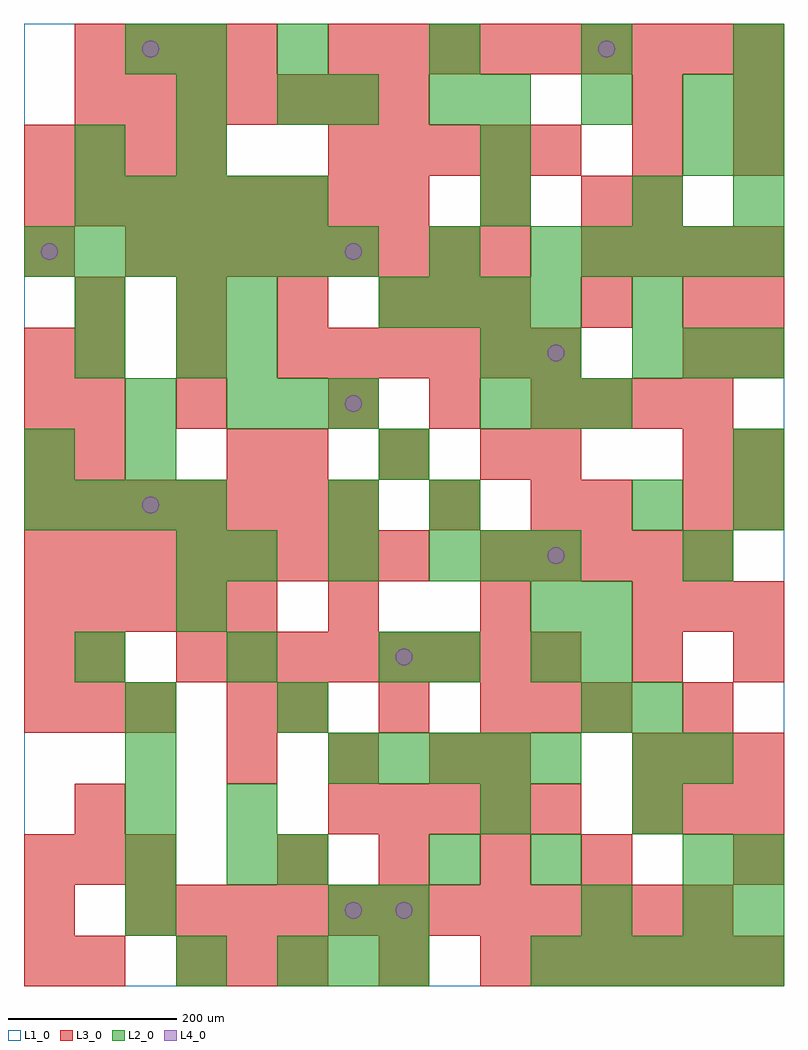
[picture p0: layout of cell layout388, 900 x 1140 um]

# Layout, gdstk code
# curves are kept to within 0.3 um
import gdstk
lib = gdstk.Library(unit=1e-6, precision=1e-09)
def R(c, l, rs):  # rectangles x0, y0, x1, y1
    for r in rs: c.add(gdstk.rectangle(r[:2], r[2:], *l))
def A(c, l, x, y, w, h, nx, ny, dx, dy):  # array of equal rectangles
    R(c, l, [(x+i*dx, y+j*dy, x+i*dx+w, y+j*dy+h) for i in range(nx) for j in range(ny)])
def P(c, l, *ps):  # polygons
    for p in ps: c.add(gdstk.Polygon(p, *l))
L1_0 = (1, 0)
L2_0 = (2, 0)
L3_0 = (3, 0)
L4_0 = (4, 0)

layout388 = lib.new_cell('layout388')
R(layout388, L1_0, [(0,0,900,1140)])
A(layout388, L2_0, 300, 0, 60, 60, 3, 1, 60, 0)
A(layout388, L2_0, 600, 0, 60, 60, 5, 2, 60, 840)
A(layout388, L2_0, 120, 60, 60, 60, 1, 5, 0, 60)
A(layout388, L2_0, 360, 60, 60, 60, 1, 3, 0, 480)
A(layout388, L2_0, 720, 180, 60, 60, 1, 3, 0, 60)
A(layout388, L2_0, 360, 240, 60, 60, 5, 1, 60, 0)
A(layout388, L2_0, 660, 300, 60, 60, 1, 3, 0, 60)
A(layout388, L2_0, 60, 360, 60, 60, 3, 1, 180, 0)
A(layout388, L2_0, 600, 360, 60, 60, 1, 3, 0, 60)
A(layout388, L2_0, 240, 480, 60, 60, 3, 1, 120, 0)
A(layout388, L2_0, 0, 540, 60, 60, 4, 1, 60, 0)
A(layout388, L2_0, 240, 660, 60, 60, 3, 1, 60, 0)
A(layout388, L2_0, 540, 660, 60, 60, 3, 1, 60, 0)
A(layout388, L2_0, 720, 720, 60, 60, 3, 1, 60, 0)
A(layout388, L2_0, 420, 780, 60, 60, 4, 1, 60, 0)
A(layout388, L2_0, 0, 840, 60, 60, 7, 1, 60, 0)
A(layout388, L2_0, 60, 900, 60, 60, 5, 1, 60, 0)
A(layout388, L2_0, 840, 900, 60, 60, 1, 3, 0, 60)
A(layout388, L2_0, 180, 960, 60, 60, 1, 3, 0, 60)
A(layout388, L2_0, 540, 1020, 60, 60, 3, 1, 120, 0)
A(layout388, L2_0, 300, 1080, 60, 60, 4, 1, 180, 0)
R(layout388, L2_0, [(180,0,240,60), (420,60,480,120), (660,60,720,120), (780,60,840,120), (840,60,900,120), (240,120,300,180), (300,120,360,180), (480,120,540,180), (600,120,660,180), (780,120,840,180), (840,120,900,180), (240,180,300,240), (540,180,600,240), (780,240,840,300), (300,300,360,360), (480,360,540,420), (180,420,240,480), (180,480,240,540), (540,480,600,540), (780,480,840,540), (480,540,540,600), (720,540,780,600), (840,540,900,600), (0,600,60,660), (120,600,180,660), (420,600,480,660), (840,600,900,660), (120,660,180,720), (60,720,120,780), (180,720,240,780), (240,720,300,780), (540,720,600,780), (600,720,660,780), (60,780,120,840), (180,780,240,840), (240,780,300,840), (720,780,780,840), (480,840,540,900), (540,900,600,960), (720,900,780,960), (60,960,120,1020), (540,960,600,1020), (780,960,840,1020), (300,1020,360,1080), (480,1020,540,1080), (120,1080,180,1140)])
A(layout388, L3_0, 60, 0, 60, 60, 1, 3, 0, 180)
A(layout388, L3_0, 180, 0, 60, 60, 3, 1, 60, 0)
A(layout388, L3_0, 540, 0, 60, 60, 6, 1, 60, 0)
A(layout388, L3_0, 120, 60, 60, 60, 12, 1, 60, 0)
A(layout388, L3_0, 0, 120, 60, 60, 3, 2, 60, 180)
A(layout388, L3_0, 300, 120, 60, 60, 4, 1, 120, 0)
A(layout388, L3_0, 360, 180, 60, 60, 5, 2, 60, 540)
A(layout388, L3_0, 720, 180, 60, 60, 3, 2, 60, 60)
A(layout388, L3_0, 240, 240, 60, 60, 3, 1, 120, 0)
A(layout388, L3_0, 300, 300, 60, 60, 3, 2, 120, 300)
A(layout388, L3_0, 780, 300, 60, 60, 1, 3, 0, 120)
A(layout388, L3_0, 180, 360, 60, 60, 8, 1, 60, 0)
A(layout388, L3_0, 0, 420, 60, 60, 5, 1, 60, 0)
A(layout388, L3_0, 360, 420, 60, 60, 3, 1, 180, 0)
A(layout388, L3_0, 0, 480, 60, 60, 8, 2, 60, 420)
A(layout388, L3_0, 540, 480, 60, 60, 5, 1, 60, 0)
A(layout388, L3_0, 0, 540, 60, 60, 7, 1, 60, 0)
A(layout388, L3_0, 0, 600, 60, 60, 1, 3, 0, 60)
A(layout388, L3_0, 360, 660, 60, 60, 3, 1, 120, 0)
A(layout388, L3_0, 660, 660, 60, 60, 3, 1, 60, 0)
A(layout388, L3_0, 60, 720, 60, 60, 3, 1, 120, 0)
A(layout388, L3_0, 60, 780, 60, 60, 4, 1, 120, 0)
A(layout388, L3_0, 540, 780, 60, 60, 3, 1, 120, 0)
A(layout388, L3_0, 120, 840, 60, 60, 8, 1, 60, 0)
A(layout388, L3_0, 660, 840, 60, 60, 4, 1, 60, 0)
A(layout388, L3_0, 720, 900, 60, 60, 1, 3, 0, 60)
A(layout388, L3_0, 0, 960, 60, 60, 4, 1, 60, 0)
A(layout388, L3_0, 360, 960, 60, 60, 5, 1, 60, 0)
A(layout388, L3_0, 60, 1020, 60, 60, 7, 1, 60, 0)
A(layout388, L3_0, 60, 1080, 60, 60, 4, 1, 60, 0)
A(layout388, L3_0, 360, 1080, 60, 60, 9, 1, 60, 0)
R(layout388, L3_0, [(0,0,60,60), (420,0,480,60), (0,60,60,120), (840,120,900,180), (540,240,600,300), (240,300,300,360), (600,300,660,360), (660,300,720,360), (0,360,60,420), (720,360,780,420), (840,360,900,420), (840,420,900,480), (480,540,540,600), (600,540,660,600), (660,540,720,600), (840,540,900,600), (60,600,120,660), (240,600,300,660), (600,600,660,660), (780,600,840,660), (840,600,900,660), (60,660,120,720), (180,660,240,720), (780,720,840,780), (840,720,900,780), (480,780,540,840), (840,780,900,840), (0,840,60,900), (540,900,600,960), (660,900,720,960), (840,960,900,1020), (840,1020,900,1080)])
P(layout388, L4_0, [(40,870),(39.239,873.827),(37.071,877.071),(33.827,879.239),(30,880),(26.173,879.239),(22.929,877.071),(20.761,873.827),(20,870),(20.761,866.173),(22.929,862.929),(26.173,860.761),(30,860),(33.827,860.761),(37.071,862.929),(39.239,866.173)],
  [(160,570),(159.239,573.827),(157.071,577.071),(153.827,579.239),(150,580),(146.173,579.239),(142.929,577.071),(140.761,573.827),(140,570),(140.761,566.173),(142.929,562.929),(146.173,560.761),(150,560),(153.827,560.761),(157.071,562.929),(159.239,566.173)],
  [(160,1110),(159.239,1113.827),(157.071,1117.071),(153.827,1119.239),(150,1120),(146.173,1119.239),(142.929,1117.071),(140.761,1113.827),(140,1110),(140.761,1106.173),(142.929,1102.929),(146.173,1100.761),(150,1100),(153.827,1100.761),(157.071,1102.929),(159.239,1106.173)],
  [(400,90),(399.239,93.827),(397.071,97.071),(393.827,99.239),(390,100),(386.173,99.239),(382.929,97.071),(380.761,93.827),(380,90),(380.761,86.173),(382.929,82.929),(386.173,80.761),(390,80),(393.827,80.761),(397.071,82.929),(399.239,86.173)],
  [(400,690),(399.239,693.827),(397.071,697.071),(393.827,699.239),(390,700),(386.173,699.239),(382.929,697.071),(380.761,693.827),(380,690),(380.761,686.173),(382.929,682.929),(386.173,680.761),(390,680),(393.827,680.761),(397.071,682.929),(399.239,686.173)],
  [(400,870),(399.239,873.827),(397.071,877.071),(393.827,879.239),(390,880),(386.173,879.239),(382.929,877.071),(380.761,873.827),(380,870),(380.761,866.173),(382.929,862.929),(386.173,860.761),(390,860),(393.827,860.761),(397.071,862.929),(399.239,866.173)],
  [(460,90),(459.239,93.827),(457.071,97.071),(453.827,99.239),(450,100),(446.173,99.239),(442.929,97.071),(440.761,93.827),(440,90),(440.761,86.173),(442.929,82.929),(446.173,80.761),(450,80),(453.827,80.761),(457.071,82.929),(459.239,86.173)],
  [(460,390),(459.239,393.827),(457.071,397.071),(453.827,399.239),(450,400),(446.173,399.239),(442.929,397.071),(440.761,393.827),(440,390),(440.761,386.173),(442.929,382.929),(446.173,380.761),(450,380),(453.827,380.761),(457.071,382.929),(459.239,386.173)],
  [(640,510),(639.239,513.827),(637.071,517.071),(633.827,519.239),(630,520),(626.173,519.239),(622.929,517.071),(620.761,513.827),(620,510),(620.761,506.173),(622.929,502.929),(626.173,500.761),(630,500),(633.827,500.761),(637.071,502.929),(639.239,506.173)],
  [(640,750),(639.239,753.827),(637.071,757.071),(633.827,759.239),(630,760),(626.173,759.239),(622.929,757.071),(620.761,753.827),(620,750),(620.761,746.173),(622.929,742.929),(626.173,740.761),(630,740),(633.827,740.761),(637.071,742.929),(639.239,746.173)],
  [(700,1110),(699.239,1113.827),(697.071,1117.071),(693.827,1119.239),(690,1120),(686.173,1119.239),(682.929,1117.071),(680.761,1113.827),(680,1110),(680.761,1106.173),(682.929,1102.929),(686.173,1100.761),(690,1100),(693.827,1100.761),(697.071,1102.929),(699.239,1106.173)])

lib.write_gds('layout388.gds')
